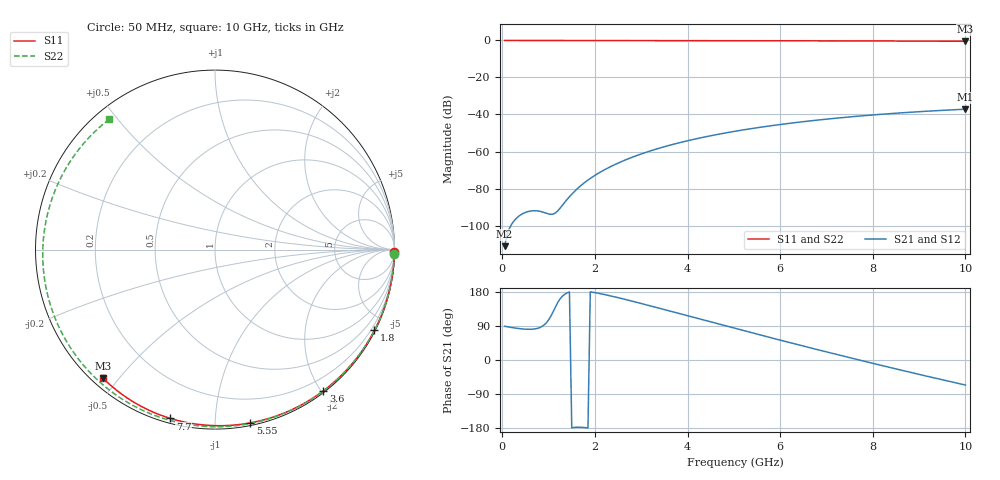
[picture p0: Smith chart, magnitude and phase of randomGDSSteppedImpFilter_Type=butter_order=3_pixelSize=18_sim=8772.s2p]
! freq	dB(S11)	phase(S11)	dB(S12)	phase(S12)
!  dB(S21)	phase(S21)	dB(S22)	phase(S22)
!S-par simulation data
#  GHz  S  DB  R 50
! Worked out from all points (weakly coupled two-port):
!   200 points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, 50 MHz to 10 GHz, reference 50 ohm
!   highest |S21| = -37.15 dB at 10 GHz (marker M1); lowest = -111.2 dB at 50 MHz (marker M2)
!   lowest |S11| = -0.4 dB at 10 GHz (marker M3), VSWR 39.12, Z = 1.54 - j22.7 ohm
!   |S11| at or under -10 dB: nowhere
!   |S22| runs from -0.6 to 0.0 dB; largest |S21 - S12| = 0
!   S11 on the Smith chart (normalised r, x): 50 MHz: open; 1.8 GHz: 0.04, -4.19; 3.6 GHz: 0.02, -2.03; 5.55 GHz: 0.02, -1.22; 7.7 GHz: 0.02, -0.77; 10 GHz: 0.03, -0.45
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0.05  -0.00 -0.8  -111.15 89.0  -111.15 89.0  -0.00 -1.4
0.4  -0.01 -6.0  -94.18 82.4  -94.18 82.4  -0.02 -11.4
0.8  -0.02 -12.0  -92.25 85.1  -92.25 85.1  -0.03 -22.8
1.6  -0.03 -23.9  -80.55 -177.5  -80.55 -177.5  -0.06 -44.8
1.65  -0.03 -24.7  -79.41 -177.4  -79.41 -177.4  -0.06 -46.2
1.75  -0.03 -26.1  -77.32 -178.0  -77.32 -178.0  -0.06 -48.9
1.8  -0.03 -26.9  -76.35 -178.6  -76.35 -178.6  -0.06 -50.2
2.1  -0.04 -31.2  -71.38 175.5  -71.38 175.5  -0.07 -58.1
2.5  -0.05 -37.0  -66.26 164.5  -66.26 164.5  -0.09 -68.4
2.9  -0.06 -42.7  -62.21 152.3  -62.21 152.3  -0.10 -78.4
3.4  -0.07 -49.8  -58.12 136.3  -58.12 136.3  -0.11 -90.4
3.6  -0.07 -52.5  -56.71 129.8  -56.71 129.8  -0.12 -95.1
4.3  -0.09 -62.1  -52.51 106.9  -52.51 106.9  -0.15 -111.0
5.05  -0.11 -72.0  -48.96 82.7  -48.96 82.7  -0.18 -127.3
5.55  -0.13 -78.5  -46.98 66.7  -46.98 66.7  -0.21 -137.8
6.15  -0.15 -86.0  -44.93 47.7  -44.93 47.7  -0.25 -150.1
6.7  -0.18 -92.8  -43.31 30.6  -43.31 30.6  -0.29 -161.2
7.2  -0.21 -98.9  -42.02 15.3  -42.02 15.3  -0.32 -171.3
7.7  -0.24 -104.8  -40.87 0.2  -40.87 0.2  -0.37 178.5
8.35  -0.29 -112.4  -39.58 -19.1  -39.58 -19.1  -0.42 165.1
9.15  -0.36 -121.5  -38.26 -42.3  -38.26 -42.3  -0.50 148.0
10  -0.44 -131.1  -37.15 -66.0  -37.15 -66.0  -0.58 129.0
